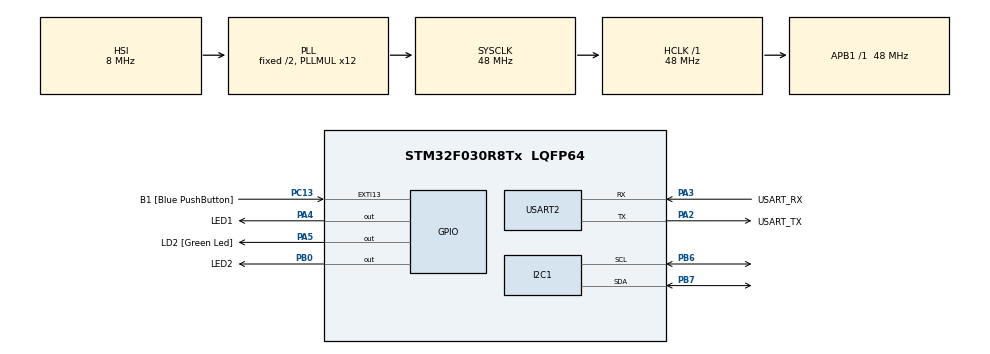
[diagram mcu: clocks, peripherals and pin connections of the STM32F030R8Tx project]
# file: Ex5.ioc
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Dma.Request0=USART2_RX
Dma.USART2_RX.0.Direction=DMA_PERIPH_TO_MEMORY
Dma.USART2_RX.0.Instance=DMA1_Channel5
Dma.USART2_RX.0.MemDataAlignment=DMA_MDATAALIGN_BYTE
Dma.USART2_RX.0.MemInc=DMA_MINC_ENABLE
Dma.USART2_RX.0.Mode=DMA_CIRCULAR
Dma.USART2_RX.0.PeriphDataAlignment=DMA_PDATAALIGN_BYTE
Dma.USART2_RX.0.PeriphInc=DMA_PINC_DISABLE
Dma.USART2_RX.0.Priority=DMA_PRIORITY_LOW
Mcu.Family=STM32F0
Mcu.Name=STM32F030R8Tx
Mcu.Package=LQFP64
NVIC.DMA1_Channel4_5_IRQn=true\:0\:0\:false\:false\:true\:false\:true\:true
PA13.GPIO_Label=TMS
PA13.Mode=Serial_Wire
PA13.Signal=SYS_SWDIO
PA14.GPIO_Label=TCK
PA14.Mode=Serial_Wire
PA14.Signal=SYS_SWCLK
PA2.GPIO_Label=USART_TX
PA2.GPIO_Mode=GPIO_MODE_AF_PP
PA2.GPIO_PuPd=GPIO_NOPULL
PA2.GPIO_Speed=GPIO_SPEED_FREQ_LOW
PA2.Mode=Asynchronous
PA2.Signal=USART2_TX
PA3.GPIO_Label=USART_RX
PA3.GPIO_Mode=GPIO_MODE_AF_PP
PA3.GPIO_PuPd=GPIO_NOPULL
PA3.GPIO_Speed=GPIO_SPEED_FREQ_LOW
PA3.Mode=Asynchronous
PA3.Signal=USART2_RX
PA4.GPIO_Label=LED1
PA4.Signal=GPIO_Output
PA5.GPIO_Label=LD2 [Green Led]
PA5.GPIO_Mode=GPIO_MODE_OUTPUT_PP
PA5.GPIO_PuPd=GPIO_NOPULL
PA5.GPIO_Speed=GPIO_SPEED_FREQ_LOW
PA5.Signal=GPIO_Output
PB0.GPIO_Label=LED2
PB0.Signal=GPIO_Output
PB6.Mode=I2C
PB6.Signal=I2C1_SCL
PB7.Mode=I2C
PB7.Signal=I2C1_SDA
PC13.GPIO_Label=B1 [Blue PushButton]
PC13.GPIO_ModeDefaultEXTI=GPIO_MODE_IT_FALLING
PC13.Signal=GPXTI13
PC14-OSC32_IN.Mode=LSE-External-Oscillator
PC14-OSC32_IN.Signal=RCC_OSC32_IN
PC15-OSC32_OUT.Mode=LSE-External-Oscillator
PC15-OSC32_OUT.Signal=RCC_OSC32_OUT
PF0-OSC_IN.Mode=HSE-External-Clock-Source
PF0-OSC_IN.Signal=RCC_OSC_IN
PF1-OSC_OUT.Signal=RCC_OSC_OUT
ProjectManager.HeapSize=0x200
ProjectManager.StackSize=0x400
ProjectManager.TargetToolchain=STM32CubeIDE
RCC.AHBFreq_Value=48000000
RCC.APB1Freq_Value=48000000
RCC.APB1TimFreq_Value=48000000
RCC.HCLKFreq_Value=48000000
RCC.PLLMUL=RCC_PLL_MUL12
RCC.SYSCLKFreq_VALUE=48000000
RCC.SYSCLKSource=RCC_SYSCLKSOURCE_PLLCLK
USART2.VirtualMode-Asynchronous=VM_ASYNC
board=NUCLEO-F030R8

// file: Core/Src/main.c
/* USER CODE BEGIN Header */
/**
 ******************************************************************************
 * @file           : main.c
 * @brief          : Main program body
 ******************************************************************************
 * @attention
 *
 * Copyright (c) 2023 STMicroelectronics.
 * All rights reserved.
 *
 * This software is licensed under terms that can be found in the LICENSE file
 * in the root directory of this software component.
 * If no LICENSE file comes with this software, it is provided AS-IS.
 *
 ******************************************************************************
 */
/* USER CODE END Header */
#include "main.h"

/* USER CODE BEGIN Includes */
#include <stdio.h>
#include <string.h>
#include <stdlib.h>
/* USER CODE END Includes */

/* USER CODE BEGIN PD */
#define CMD_BUFFER_LEN 256
#define EEPROM_ADDR 0xA0
#define RX_BUFFER_LEN 64
#define uart_rx_write_ptr (RX_BUFFER_LEN - hdma_usart2_rx.Instance->CNDTR)
/* USER CODE END PD */

I2C_HandleTypeDef hi2c1;

UART_HandleTypeDef huart2;
DMA_HandleTypeDef hdma_usart2_rx;

/* USER CODE BEGIN PV */
static uint8_t uart_rx_buf[RX_BUFFER_LEN];
static volatile uint16_t uart_rx_read_ptr = 0;
/* USER CODE END PV */

void SystemClock_Config(void);
static void MX_GPIO_Init(void);
static void MX_DMA_Init(void);
static void MX_USART2_UART_Init(void);
static void MX_I2C1_Init(void);
/* USER CODE BEGIN PFP */

int _write(int file, char const *buf, int n)
{
	/* stdout redirection to UART2 */
	HAL_UART_Transmit(&huart2, (uint8_t*)(buf), n, HAL_MAX_DELAY);
	return n;
}

static void uart_process_command(char *cmd) {
	char *token;
	token = strtok(cmd, " ");

	if (strcasecmp(token, "HELLO") == 0) {
		printf("Hello World - Test!\n");
		printf("Communication successful\n");
	} else if (strcasecmp(token, "LED1") == 0) {
		token = strtok(NULL, " ");
		if (strcasecmp(token, "ON") == 0) HAL_GPIO_WritePin(LED1_GPIO_Port, LED1_Pin, 1);
		else if (strcasecmp(token, "OFF") == 0) HAL_GPIO_WritePin(LED1_GPIO_Port, LED1_Pin, 0);
		printf("Command successful\n");
	} else if (strcasecmp(token, "LED2") == 0) {
		token = strtok(NULL, " ");
		if (strcasecmp(token, "ON") == 0) HAL_GPIO_WritePin(LED2_GPIO_Port, LED2_Pin, 1);
		else if (strcasecmp(token, "OFF") == 0) HAL_GPIO_WritePin(LED2_GPIO_Port, LED2_Pin, 0);
		printf("Command successful\n");
	} else if (strcasecmp(token, "STATUS") == 0) {
		if (HAL_GPIO_ReadPin(LED1_GPIO_Port, LED1_Pin) == 1) printf("Status LED1: ON\n");
		else printf("Status LED1: OFF\n");
		if (HAL_GPIO_ReadPin(LED2_GPIO_Port, LED2_Pin) == 1) printf("Status LED2: ON\n");
		else printf("Status LED2: OFF\n");
		printf("Command successful\n");
	} else if (strcasecmp(token, "READ") == 0) {
		token = strtok(NULL, " ");
		uint16_t addr = atoi(token);
		uint8_t value;

		HAL_I2C_Mem_Read(&hi2c1, EEPROM_ADDR, addr, I2C_MEMADD_SIZE_16BIT, &value, 1, 1000); // EEPROM Read Out
		printf("Address 0x%04X = 0x%02X\n", addr, value);
	} else if (strcasecmp(token, "WRITE") == 0) {
		token = strtok(NULL, " ");
		uint16_t addr = atoi(token);
		token = strtok(NULL, " ");
		uint8_t value = atoi(token);

		HAL_I2C_Mem_Write(&hi2c1, EEPROM_ADDR, addr, I2C_MEMADD_SIZE_16BIT, &value, 1, 1000); // EEPROM Rewrite
		while (HAL_I2C_IsDeviceReady(&hi2c1, EEPROM_ADDR, 300, 1000) == HAL_TIMEOUT) {}		  // Check if the EEPROM is ready for a new operation
		printf("Address 0x%04X has been rewritten\n", addr);
	} else if (strcasecmp(token, "DUMP") == 0) {
		uint16_t addr;
		uint8_t value;

		for (addr = 0; addr < 16; addr++) {
			if (addr == 8) printf("\n");
			HAL_I2C_Mem_Read(&hi2c1, EEPROM_ADDR, addr, I2C_MEMADD_SIZE_16BIT, &value, 1, 1000);
			printf("0x%02X ", value);
		}
		printf("\nCommand successful\n");
	} else {
		printf("Unknown command\n");
	}
}
/* USER CODE END PFP */

/* USER CODE BEGIN 0 */

static void uart_byte_available(uint8_t c)
{
	static uint16_t cnt;
	static char data[CMD_BUFFER_LEN];
	if (cnt < CMD_BUFFER_LEN && c >= 32 && c <= 126) data[cnt++] = c;
	if ((c == '\n' || c == '\r') && cnt > 0) {
		data[cnt] = '\0';
		uart_process_command(data);
		cnt = 0;
	}
}

/* USER CODE END 0 */

int main(void)
{

  /* MCU Configuration--------------------------------------------------------*/

  /* Reset of all peripherals, Initializes the Flash interface and the Systick. */
  HAL_Init();

  /* Configure the system clock */
  SystemClock_Config();

  /* Initialize all configured peripherals */
  MX_GPIO_Init();
  MX_DMA_Init();
  MX_USART2_UART_Init();
  MX_I2C1_Init();
  /* USER CODE BEGIN 2 */
	HAL_UART_Receive_DMA(&huart2, uart_rx_buf, RX_BUFFER_LEN);
  /* USER CODE END 2 */

  /* Infinite loop */
  /* USER CODE BEGIN WHILE */
	while (1)
	{
		while (uart_rx_read_ptr != uart_rx_write_ptr) {
			uint8_t b = uart_rx_buf[uart_rx_read_ptr];
			if (++uart_rx_read_ptr >= RX_BUFFER_LEN) {
				uart_rx_read_ptr = 0; // increase read pointer
			}
			uart_byte_available(b); // process every received byte with the RX state machine
		}
    /* USER CODE END WHILE */

	}
}

void SystemClock_Config(void)
{
  RCC_OscInitTypeDef RCC_OscInitStruct = {0};
  RCC_ClkInitTypeDef RCC_ClkInitStruct = {0};
  RCC_PeriphCLKInitTypeDef PeriphClkInit = {0};

  /** Initializes the RCC Oscillators according to the specified parameters
  * in the RCC_OscInitTypeDef structure.
  */
  RCC_OscInitStruct.OscillatorType = RCC_OSCILLATORTYPE_HSI;
  RCC_OscInitStruct.HSIState = RCC_HSI_ON;
  RCC_OscInitStruct.HSICalibrationValue = RCC_HSICALIBRATION_DEFAULT;
  RCC_OscInitStruct.PLL.PLLState = RCC_PLL_ON;
  RCC_OscInitStruct.PLL.PLLSource = RCC_PLLSOURCE_HSI;
  RCC_OscInitStruct.PLL.PLLMUL = RCC_PLL_MUL12;
  RCC_OscInitStruct.PLL.PREDIV = RCC_PREDIV_DIV1;
  if (HAL_RCC_OscConfig(&RCC_OscInitStruct) != HAL_OK)
  {
    Error_Handler();
  }

  /** Initializes the CPU, AHB and APB buses clocks
  */
  RCC_ClkInitStruct.ClockType = RCC_CLOCKTYPE_HCLK|RCC_CLOCKTYPE_SYSCLK
                              |RCC_CLOCKTYPE_PCLK1;
  RCC_ClkInitStruct.SYSCLKSource = RCC_SYSCLKSOURCE_PLLCLK;
  RCC_ClkInitStruct.AHBCLKDivider = RCC_SYSCLK_DIV1;
  RCC_ClkInitStruct.APB1CLKDivider = RCC_HCLK_DIV1;

  if (HAL_RCC_ClockConfig(&RCC_ClkInitStruct, FLASH_LATENCY_1) != HAL_OK)
  {
    Error_Handler();
  }
  PeriphClkInit.PeriphClockSelection = RCC_PERIPHCLK_I2C1;
  PeriphClkInit.I2c1ClockSelection = RCC_I2C1CLKSOURCE_HSI;
  if (HAL_RCCEx_PeriphCLKConfig(&PeriphClkInit) != HAL_OK)
  {
    Error_Handler();
  }
}

static void MX_I2C1_Init(void)
{

  hi2c1.Instance = I2C1;
  hi2c1.Init.Timing = 0x2000090E;
  hi2c1.Init.OwnAddress1 = 0;
  hi2c1.Init.AddressingMode = I2C_ADDRESSINGMODE_7BIT;
  hi2c1.Init.DualAddressMode = I2C_DUALADDRESS_DISABLE;
  hi2c1.Init.OwnAddress2 = 0;
  hi2c1.Init.OwnAddress2Masks = I2C_OA2_NOMASK;
  hi2c1.Init.GeneralCallMode = I2C_GENERALCALL_DISABLE;
  hi2c1.Init.NoStretchMode = I2C_NOSTRETCH_DISABLE;
  if (HAL_I2C_Init(&hi2c1) != HAL_OK)
  {
    Error_Handler();
  }

  /** Configure Analogue filter
  */
  if (HAL_I2CEx_ConfigAnalogFilter(&hi2c1, I2C_ANALOGFILTER_ENABLE) != HAL_OK)
  {
    Error_Handler();
  }

  /** Configure Digital filter
  */
  if (HAL_I2CEx_ConfigDigitalFilter(&hi2c1, 0) != HAL_OK)
  {
    Error_Handler();
  }

}

static void MX_USART2_UART_Init(void)
{

  huart2.Instance = USART2;
  huart2.Init.BaudRate = 38400;
  huart2.Init.WordLength = UART_WORDLENGTH_8B;
  huart2.Init.StopBits = UART_STOPBITS_1;
  huart2.Init.Parity = UART_PARITY_NONE;
  huart2.Init.Mode = UART_MODE_TX_RX;
  huart2.Init.HwFlowCtl = UART_HWCONTROL_NONE;
  huart2.Init.OverSampling = UART_OVERSAMPLING_16;
  huart2.Init.OneBitSampling = UART_ONE_BIT_SAMPLE_DISABLE;
  huart2.AdvancedInit.AdvFeatureInit = UART_ADVFEATURE_NO_INIT;
  if (HAL_UART_Init(&huart2) != HAL_OK)
  {
    Error_Handler();
  }

}

static void MX_DMA_Init(void)
{

  /* DMA controller clock enable */
  __HAL_RCC_DMA1_CLK_ENABLE();

  /* DMA interrupt init */
  /* DMA1_Channel4_5_IRQn interrupt configuration */
  HAL_NVIC_SetPriority(DMA1_Channel4_5_IRQn, 0, 0);
  HAL_NVIC_EnableIRQ(DMA1_Channel4_5_IRQn);

}

static void MX_GPIO_Init(void)
{
  GPIO_InitTypeDef GPIO_InitStruct = {0};

  /* GPIO Ports Clock Enable */
  __HAL_RCC_GPIOC_CLK_ENABLE();
  __HAL_RCC_GPIOF_CLK_ENABLE();
  __HAL_RCC_GPIOA_CLK_ENABLE();
  __HAL_RCC_GPIOB_CLK_ENABLE();

  /*Configure GPIO pin Output Level */
  HAL_GPIO_WritePin(GPIOA, LED1_Pin|LD2_Pin, GPIO_PIN_RESET);

  /*Configure GPIO pin Output Level */
  HAL_GPIO_WritePin(LED2_GPIO_Port, LED2_Pin, GPIO_PIN_RESET);

  /*Configure GPIO pin : B1_Pin */
  GPIO_InitStruct.Pin = B1_Pin;
  GPIO_InitStruct.Mode = GPIO_MODE_IT_FALLING;
  GPIO_InitStruct.Pull = GPIO_NOPULL;
  HAL_GPIO_Init(B1_GPIO_Port, &GPIO_InitStruct);

  /*Configure GPIO pins : LED1_Pin LD2_Pin */
  GPIO_InitStruct.Pin = LED1_Pin|LD2_Pin;
  GPIO_InitStruct.Mode = GPIO_MODE_OUTPUT_PP;
  GPIO_InitStruct.Pull = GPIO_NOPULL;
  GPIO_InitStruct.Speed = GPIO_SPEED_FREQ_LOW;
  HAL_GPIO_Init(GPIOA, &GPIO_InitStruct);

  /*Configure GPIO pin : LED2_Pin */
  GPIO_InitStruct.Pin = LED2_Pin;
  GPIO_InitStruct.Mode = GPIO_MODE_OUTPUT_PP;
  GPIO_InitStruct.Pull = GPIO_NOPULL;
  GPIO_InitStruct.Speed = GPIO_SPEED_FREQ_LOW;
  HAL_GPIO_Init(LED2_GPIO_Port, &GPIO_InitStruct);

}

void Error_Handler(void)
{
	__disable_irq();
	while (1)
	{
	}
}
